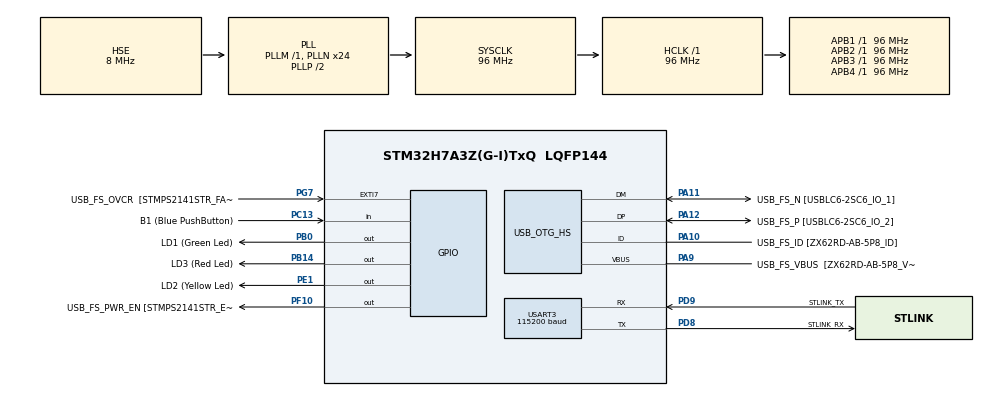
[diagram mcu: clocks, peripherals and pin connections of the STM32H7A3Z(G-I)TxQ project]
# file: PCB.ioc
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Mcu.Family=STM32H7
Mcu.Name=STM32H7A3Z(G-I)TxQ
Mcu.Package=LQFP144
NVIC.PriorityGroup=NVIC_PRIORITYGROUP_4
NVIC.USART3_IRQn=true\:0\:0\:false\:false\:true\:true\:true\:true
PA10.GPIO_Label=USB_FS_ID [ZX62RD-AB-5P8_ID]
PA10.Mode=OTG/Dual-Role-Device-FS
PA10.Signal=USB_OTG_HS_ID
PA11.GPIO_Label=USB_FS_N [USBLC6-2SC6_IO_1]
PA11.Mode=OTG/Dual-Role-Device-FS
PA11.Signal=USB_OTG_HS_DM
PA12.GPIO_Label=USB_FS_P [USBLC6-2SC6_IO_2]
PA12.Mode=OTG/Dual-Role-Device-FS
PA12.Signal=USB_OTG_HS_DP
PA9.GPIO_Label=USB_FS_VBUS  [ZX62RD-AB-5P8_VBUS]
PA9.Mode=Activate_VBUS_FS
PA9.Signal=USB_OTG_HS_VBUS
PB0.GPIO_Label=LD1 (Green Led)
PB0.Signal=GPIO_Output
PB14.GPIO_Label=LD3 (Red Led)
PB14.Signal=GPIO_Output
PC13.GPIO_Label=B1 (Blue PushButton)
PC13.Signal=GPIO_Input
PC14-OSC32_IN.GPIO_Label=OSC32_IN
PC14-OSC32_IN.Mode=LSE-External-Oscillator
PC14-OSC32_IN.Signal=RCC_OSC32_IN
PC15-OSC32_OUT.GPIO_Label=OSC32_OUT
PC15-OSC32_OUT.Mode=LSE-External-Oscillator
PC15-OSC32_OUT.Signal=RCC_OSC32_OUT
PD8.GPIO_Label=STLINK_RX
PD8.Mode=Asynchronous
PD8.Signal=USART3_TX
PD9.GPIO_Label=STLINK_TX
PD9.Mode=Asynchronous
PD9.Signal=USART3_RX
PE1.GPIO_Label=LD2 (Yellow Led)
PE1.Signal=GPIO_Output
PF10.GPIO_Label=USB_FS_PWR_EN [STMPS2141STR_EN]
PF10.Signal=GPIO_Output
PG7.GPIO_Label=USB_FS_OVCR  [STMPS2141STR_FAULT]
PG7.Signal=GPXTI7
PH0-OSC_IN.GPIO_Label=PH0-MCU
PH0-OSC_IN.Mode=HSE-External-Clock-Source
PH0-OSC_IN.Signal=RCC_OSC_IN
PH1-OSC_OUT.GPIO_Label=PH1-MCU
PH1-OSC_OUT.Signal=RCC_OSC_OUT
ProjectManager.HeapSize=0x200
ProjectManager.StackSize=0x400
ProjectManager.TargetToolchain=STM32CubeIDE
RCC.ADCFreq_Value=16125000
RCC.APB1Freq_Value=96000000
RCC.APB2Freq_Value=96000000
RCC.APB3Freq_Value=96000000
RCC.APB4Freq_Value=96000000
RCC.CortexFreq_Value=96000000
RCC.DIVM1=1
RCC.DIVM3=1
RCC.DIVN1=24
RCC.DIVN3=24
RCC.DIVQ1=4
RCC.HCLKFreq_Value=96000000
RCC.HSE_VALUE=8000000
RCC.PLLFRACN=0
RCC.PLLSourceVirtual=RCC_PLLSOURCE_HSE
RCC.PWR_Regulator_Voltage_Scale=PWR_REGULATOR_VOLTAGE_SCALE0
RCC.SYSCLKFreq_VALUE=96000000
RCC.SYSCLKSource=RCC_SYSCLKSOURCE_PLLCLK
RCC.SupplySource=PWR_DIRECT_SMPS_SUPPLY
RCC.USBCLockSelection=RCC_USBCLKSOURCE_HSI48
RCC.USBFreq_Value=48000000
USART3.BaudRate=115200
USART3.VirtualMode-Asynchronous=VM_ASYNC
board=NUCLEO-H7A3ZI-Q

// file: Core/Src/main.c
/* USER CODE BEGIN Header */
/**
  ******************************************************************************
  * @file           : main.c
  * @brief          : Main program body
  ******************************************************************************
  * @attention
  *
  * Copyright (c) 2023 STMicroelectronics.
  * All rights reserved.
  *
  * This software is licensed under terms that can be found in the LICENSE file
  * in the root directory of this software component.
  * If no LICENSE file comes with this software, it is provided AS-IS.
  *
  ******************************************************************************
  */
/* USER CODE END Header */
#include "main.h"
#include <stdio.h>

/* USER CODE BEGIN PD */
#define POLL 1	// poll mode
#define IT 2	// interrupt mode
/* USER CODE END PD */

UART_HandleTypeDef huart3;

/* USER CODE BEGIN PV */
// kiirando uzenetek
uint8_t welcome[] 	= "LED control project\r\n  using UART\r\n  on Nucleo-HA3ZI-Q board\n\r";
uint8_t instruction[] = "\nType \"1\" to turn on LED2\r\nType \"0\" to turn off LED2 \n\r\n";
uint8_t LED1ON[] 	= "LED1 is ON \r\n";
uint8_t LED1OFF[] 	= "LED1 is OFF\r\n";
uint8_t LED2ON[] 	= "LED2 is ON \r\n";
uint8_t LED2OFF[] 	= "LED2 is OFF\r\n";
uint8_t AUTOON[] 	= "\nAuto LED on\r\n";
uint8_t AUTOOFF[] 	= "\nAuto LED off\r\n";
uint8_t poll[]		= "  Poll mode\r\n";
uint8_t it[]		= "  Interrupt mode\r\n";
// UART-on kapott adat tarolasara
uint8_t data[] 		= "-";	// alapetelmezett ertek a "-" -> biztos nem 1 vagy 0
// allapotvaltozok
int state 	= 0;
int state_old = 1;
// mode indikator - poll/interrupt (POLL/IT)
int mode = IT;
/* USER CODE END PV */

void SystemClock_Config(void);
static void MX_GPIO_Init(void);
static void MX_USART3_UART_Init(void);
static void MX_USB_OTG_HS_USB_Init(void);
/* USER CODE BEGIN PFP */
// UART interrupt fuggveny deklaralasa
void HAL_UART_RxCpltCallback(UART_HandleTypeDef *huart);
/* USER CODE END PFP */

int main(void){
  /* MCU Configuration--------------------------------------------------------*/

  /* Reset of all peripherals, Initializes the Flash interface and the Systick. */
  HAL_Init();

  /* Configure the system clock */
  SystemClock_Config();

  /* Initialize all configured peripherals */
  MX_GPIO_Init();
  MX_USART3_UART_Init();
  MX_USB_OTG_HS_USB_Init();

  /* USER CODE BEGIN 2*/
  // UART interrupt inditasa
  if(mode != POLL){
	  HAL_UART_Receive_IT(&huart3, data, 1);
  }

  // alap adatok, udvozlo szoveg, utmutato kikuldese UART-on
  HAL_UART_Transmit(&huart3, welcome, sizeof(welcome), 10);
  if(mode == POLL){
	  HAL_UART_Transmit(&huart3, poll, sizeof(poll), 10);
  }else{
	  HAL_UART_Transmit(&huart3, it, sizeof(it), 10);
  }
  HAL_UART_Transmit(&huart3, instruction, sizeof(instruction), 10);
  HAL_Delay(10);
  /* USER CODE END 2 */

  /* Infinite loop */
  /* USER CODE BEGIN WHILE */
  while (1){
	  // gombnyomas erzekelese
	  if(HAL_GPIO_ReadPin(B1_GPIO_Port, B1_Pin)){
		  while(HAL_GPIO_ReadPin(B1_GPIO_Port, B1_Pin)){}	// pergesmentesites
		  if(state == 0 && state_old == 1){
			  // LED-ek alaphelyzetbe allitasa
			  HAL_GPIO_WritePin(LD3_GPIO_Port, LD3_Pin, 1);	// state allapotat mutato LED
			  HAL_GPIO_WritePin(LD2_GPIO_Port, LD2_Pin, 0);	// UART-on kapcsolhato LED
			  HAL_GPIO_WritePin(LD1_GPIO_Port, LD1_Pin, 0);	// state 1-ben villogo LED
			  // uzenet, hogy atleptunk villogo modba
			  HAL_UART_Transmit(&huart3, AUTOON, sizeof(AUTOON), 10);
		  }
		  if(state == 1 && state_old == 0){
			  // LED-ek alaphelyzetbe allitasa
			  HAL_GPIO_WritePin(LD3_GPIO_Port, LD3_Pin, 0);	// state allapotat mutato LED
			  HAL_GPIO_WritePin(LD2_GPIO_Port, LD2_Pin, 0);	// UART-on kapcsolhato LED
			  HAL_GPIO_WritePin(LD1_GPIO_Port, LD1_Pin, 0);	// state 1-ben villogo LED
			  // uzenet, hogy visszaleptunk alap modba
			  HAL_UART_Transmit(&huart3, AUTOOFF, sizeof(AUTOOFF), 10);
			  // utmutato kiirasa UART-on
			  HAL_UART_Transmit(&huart3, instruction, sizeof(instruction), 10);
		  }
		  // state allapotvaltozok frissitese
		  state_old = state;
		  state++;
		  state %= 2;
	  }// if(B1)

	  // basic allapot - nem vilagitanak LED-ek, csak LED2 kapcsolhato UART-on
	  if(state == 0){
		  // POLL mode
		  if(mode == POLL){
			  // varja UART-on az utasitast
			  HAL_UART_Receive(&huart3, data, 1, 1);

			  if(data[0] == '1' && HAL_GPIO_ReadPin(LD2_GPIO_Port, LD2_Pin) == 0){
				  HAL_GPIO_WritePin(LD2_GPIO_Port, LD2_Pin, 1);
				  HAL_UART_Transmit(&huart3, LED2ON, sizeof(LED2ON), 10);
			  }
			  if(data[0] == '0' && HAL_GPIO_ReadPin(LD2_GPIO_Port, LD2_Pin) == 1){
				  HAL_GPIO_WritePin(LD2_GPIO_Port, LD2_Pin, 0);
				  HAL_UART_Transmit(&huart3, LED2OFF, sizeof(LED2OFF), 10);
			  }

			  HAL_Delay(5);
		  }

		  // IT mode
		  if(mode == IT){
			  // itt nincs szukseg LED kapcsolo kod-ra,
			  // mivel az interrupt fuggvenyben van megvalositva
		  }
	  }// if(state==0)

	  if(state == 1){
		  // LED1 villog, kikuldi UART-on, hogy fel vagy le van kapcsolva
		  // poll modban ebben az allapotban nem tud UART-on adatot fogadni
		  if(HAL_GPIO_ReadPin(LD1_GPIO_Port, LD1_Pin) == 0){
			  HAL_GPIO_WritePin(LD1_GPIO_Port, LD1_Pin, 1);
			  HAL_UART_Transmit(&huart3, LED1ON, sizeof(LED1ON), 10);
		  }else{
			  HAL_GPIO_WritePin(LD1_GPIO_Port, LD1_Pin, 0);
			  HAL_UART_Transmit(&huart3, LED1OFF, sizeof(LED1OFF), 10);
		  }

		  HAL_Delay(1000);
	  }// if(state==1)

  }// wile(1)

}// main()

void SystemClock_Config(void)
{
  RCC_OscInitTypeDef RCC_OscInitStruct = {0};
  RCC_ClkInitTypeDef RCC_ClkInitStruct = {0};

  /*AXI clock gating */
  RCC->CKGAENR = 0xFFFFFFFF;

  /** Supply configuration update enable
  */
  HAL_PWREx_ConfigSupply(PWR_DIRECT_SMPS_SUPPLY);

  /** Configure the main internal regulator output voltage
  */
  __HAL_PWR_VOLTAGESCALING_CONFIG(PWR_REGULATOR_VOLTAGE_SCALE0);

  while(!__HAL_PWR_GET_FLAG(PWR_FLAG_VOSRDY)) {}

  /** Initializes the RCC Oscillators according to the specified parameters
  * in the RCC_OscInitTypeDef structure.
  */
  RCC_OscInitStruct.OscillatorType = RCC_OSCILLATORTYPE_HSI48|RCC_OSCILLATORTYPE_HSE;
  RCC_OscInitStruct.HSEState = RCC_HSE_BYPASS;
  RCC_OscInitStruct.HSI48State = RCC_HSI48_ON;
  RCC_OscInitStruct.PLL.PLLState = RCC_PLL_ON;
  RCC_OscInitStruct.PLL.PLLSource = RCC_PLLSOURCE_HSE;
  RCC_OscInitStruct.PLL.PLLM = 1;
  RCC_OscInitStruct.PLL.PLLN = 24;
  RCC_OscInitStruct.PLL.PLLP = 2;
  RCC_OscInitStruct.PLL.PLLQ = 4;
  RCC_OscInitStruct.PLL.PLLR = 2;
  RCC_OscInitStruct.PLL.PLLRGE = RCC_PLL1VCIRANGE_3;
  RCC_OscInitStruct.PLL.PLLVCOSEL = RCC_PLL1VCOWIDE;
  RCC_OscInitStruct.PLL.PLLFRACN = 0;
  if (HAL_RCC_OscConfig(&RCC_OscInitStruct) != HAL_OK)
  {
    Error_Handler();
  }

  /** Initializes the CPU, AHB and APB buses clocks
  */
  RCC_ClkInitStruct.ClockType = RCC_CLOCKTYPE_HCLK|RCC_CLOCKTYPE_SYSCLK
                              |RCC_CLOCKTYPE_PCLK1|RCC_CLOCKTYPE_PCLK2
                              |RCC_CLOCKTYPE_D3PCLK1|RCC_CLOCKTYPE_D1PCLK1;
  RCC_ClkInitStruct.SYSCLKSource = RCC_SYSCLKSOURCE_PLLCLK;
  RCC_ClkInitStruct.SYSCLKDivider = RCC_SYSCLK_DIV1;
  RCC_ClkInitStruct.AHBCLKDivider = RCC_HCLK_DIV1;
  RCC_ClkInitStruct.APB3CLKDivider = RCC_APB3_DIV1;
  RCC_ClkInitStruct.APB1CLKDivider = RCC_APB1_DIV1;
  RCC_ClkInitStruct.APB2CLKDivider = RCC_APB2_DIV1;
  RCC_ClkInitStruct.APB4CLKDivider = RCC_APB4_DIV1;

  if (HAL_RCC_ClockConfig(&RCC_ClkInitStruct, FLASH_LATENCY_2) != HAL_OK)
  {
    Error_Handler();
  }
}

static void MX_USART3_UART_Init(void)
{

  huart3.Instance = USART3;
  huart3.Init.BaudRate = 115200;
  huart3.Init.WordLength = UART_WORDLENGTH_8B;
  huart3.Init.StopBits = UART_STOPBITS_1;
  huart3.Init.Parity = UART_PARITY_NONE;
  huart3.Init.Mode = UART_MODE_TX_RX;
  huart3.Init.HwFlowCtl = UART_HWCONTROL_NONE;
  huart3.Init.OverSampling = UART_OVERSAMPLING_16;
  huart3.Init.OneBitSampling = UART_ONE_BIT_SAMPLE_DISABLE;
  huart3.Init.ClockPrescaler = UART_PRESCALER_DIV1;
  huart3.AdvancedInit.AdvFeatureInit = UART_ADVFEATURE_NO_INIT;
  if (HAL_UART_Init(&huart3) != HAL_OK)
  {
    Error_Handler();
  }
  if (HAL_UARTEx_SetTxFifoThreshold(&huart3, UART_TXFIFO_THRESHOLD_1_8) != HAL_OK)
  {
    Error_Handler();
  }
  if (HAL_UARTEx_SetRxFifoThreshold(&huart3, UART_RXFIFO_THRESHOLD_1_8) != HAL_OK)
  {
    Error_Handler();
  }
  if (HAL_UARTEx_DisableFifoMode(&huart3) != HAL_OK)
  {
    Error_Handler();
  }

}

static void MX_USB_OTG_HS_USB_Init(void)
{

}

static void MX_GPIO_Init(void)
{
  GPIO_InitTypeDef GPIO_InitStruct = {0};

  /* GPIO Ports Clock Enable */
  __HAL_RCC_GPIOC_CLK_ENABLE();
  __HAL_RCC_GPIOF_CLK_ENABLE();
  __HAL_RCC_GPIOH_CLK_ENABLE();
  __HAL_RCC_GPIOB_CLK_ENABLE();
  __HAL_RCC_GPIOD_CLK_ENABLE();
  __HAL_RCC_GPIOG_CLK_ENABLE();
  __HAL_RCC_GPIOA_CLK_ENABLE();
  __HAL_RCC_GPIOE_CLK_ENABLE();

  /*Configure GPIO pin Output Level */
  HAL_GPIO_WritePin(USB_FS_PWR_EN_GPIO_Port, USB_FS_PWR_EN_Pin, GPIO_PIN_RESET);

  /*Configure GPIO pin Output Level */
  HAL_GPIO_WritePin(GPIOB, LD1_Pin|LD3_Pin, GPIO_PIN_RESET);

  /*Configure GPIO pin Output Level */
  HAL_GPIO_WritePin(LD2_GPIO_Port, LD2_Pin, GPIO_PIN_RESET);

  /*Configure GPIO pin : B1_Pin */
  GPIO_InitStruct.Pin = B1_Pin;
  GPIO_InitStruct.Mode = GPIO_MODE_INPUT;
  GPIO_InitStruct.Pull = GPIO_NOPULL;
  HAL_GPIO_Init(B1_GPIO_Port, &GPIO_InitStruct);

  /*Configure GPIO pin : USB_FS_PWR_EN_Pin */
  GPIO_InitStruct.Pin = USB_FS_PWR_EN_Pin;
  GPIO_InitStruct.Mode = GPIO_MODE_OUTPUT_PP;
  GPIO_InitStruct.Pull = GPIO_NOPULL;
  GPIO_InitStruct.Speed = GPIO_SPEED_FREQ_LOW;
  HAL_GPIO_Init(USB_FS_PWR_EN_GPIO_Port, &GPIO_InitStruct);

  /*Configure GPIO pins : LD1_Pin LD3_Pin */
  GPIO_InitStruct.Pin = LD1_Pin|LD3_Pin;
  GPIO_InitStruct.Mode = GPIO_MODE_OUTPUT_PP;
  GPIO_InitStruct.Pull = GPIO_NOPULL;
  GPIO_InitStruct.Speed = GPIO_SPEED_FREQ_LOW;
  HAL_GPIO_Init(GPIOB, &GPIO_InitStruct);

  /*Configure GPIO pin : USB_FS_OVCR_Pin */
  GPIO_InitStruct.Pin = USB_FS_OVCR_Pin;
  GPIO_InitStruct.Mode = GPIO_MODE_IT_RISING;
  GPIO_InitStruct.Pull = GPIO_NOPULL;
  HAL_GPIO_Init(USB_FS_OVCR_GPIO_Port, &GPIO_InitStruct);

  /*Configure GPIO pin : USB_FS_VBUS_Pin */
  GPIO_InitStruct.Pin = USB_FS_VBUS_Pin;
  GPIO_InitStruct.Mode = GPIO_MODE_INPUT;
  GPIO_InitStruct.Pull = GPIO_NOPULL;
  HAL_GPIO_Init(USB_FS_VBUS_GPIO_Port, &GPIO_InitStruct);

  /*Configure GPIO pin : USB_FS_ID_Pin */
  GPIO_InitStruct.Pin = USB_FS_ID_Pin;
  GPIO_InitStruct.Mode = GPIO_MODE_AF_PP;
  GPIO_InitStruct.Pull = GPIO_NOPULL;
  GPIO_InitStruct.Speed = GPIO_SPEED_FREQ_LOW;
  GPIO_InitStruct.Alternate = GPIO_AF10_OTG1_HS;
  HAL_GPIO_Init(USB_FS_ID_GPIO_Port, &GPIO_InitStruct);

  /*Configure GPIO pins : USB_FS_N_Pin USB_FS_P_Pin */
  GPIO_InitStruct.Pin = USB_FS_N_Pin|USB_FS_P_Pin;
  GPIO_InitStruct.Mode = GPIO_MODE_AF_PP;
  GPIO_InitStruct.Pull = GPIO_NOPULL;
  GPIO_InitStruct.Speed = GPIO_SPEED_FREQ_LOW;
  HAL_GPIO_Init(GPIOA, &GPIO_InitStruct);

  /*Configure GPIO pin : LD2_Pin */
  GPIO_InitStruct.Pin = LD2_Pin;
  GPIO_InitStruct.Mode = GPIO_MODE_OUTPUT_PP;
  GPIO_InitStruct.Pull = GPIO_NOPULL;
  GPIO_InitStruct.Speed = GPIO_SPEED_FREQ_LOW;
  HAL_GPIO_Init(LD2_GPIO_Port, &GPIO_InitStruct);

}

/* USER CODE BEGIN 4 */
// UART recieve interrupt fuggveny definialasa
// ez a fuggveny kerul meghivasra, ha az adatfgadas sikeres volt
void HAL_UART_RxCpltCallback(UART_HandleTypeDef *huart){
	// csak interrupt modban hasznaljuk
	if(mode == IT){
		// csak akkor kapcsolja fel a LED2-t,
		// ha UART-on "1"-et kapott es a LED2 nem vilagit
		if(data[0] == '1' && HAL_GPIO_ReadPin(LD2_GPIO_Port, LD2_Pin) == 0){
			HAL_GPIO_WritePin(LD2_GPIO_Port, LD2_Pin, 1);
			HAL_UART_Transmit(&huart3, LED2ON, sizeof(LED2ON), 10);
		}
		// csak akkor kapcsolja le a LED2-t,
		// ha UART-on "0"-t kapott es a LED2 vilagit
		if(data[0] == '0' && HAL_GPIO_ReadPin(LD2_GPIO_Port, LD2_Pin) == 1){
			HAL_GPIO_WritePin(LD2_GPIO_Port, LD2_Pin, 0);
			HAL_UART_Transmit(&huart3, LED2OFF, sizeof(LED2OFF), 10);
		}
		// adatfogado interrupt fuggveny ujboli meghivasa
		HAL_UART_Receive_IT(&huart3, data, 1);
	}
}
/* USER CODE END 4 */

void Error_Handler(void)
{
  __disable_irq();
  while (1)
  {
  }
}
